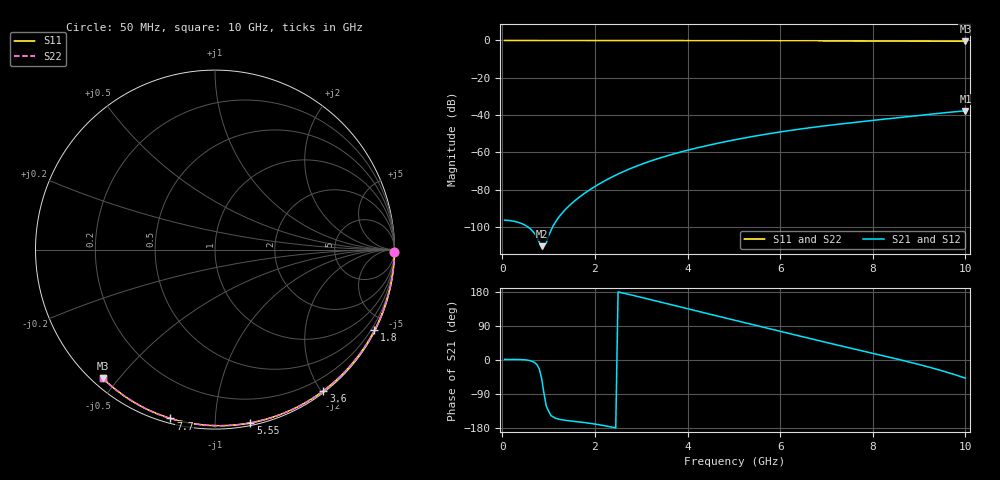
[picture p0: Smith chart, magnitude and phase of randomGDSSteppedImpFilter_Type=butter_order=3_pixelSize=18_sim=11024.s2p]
! freq	dB(S11)	phase(S11)	dB(S12)	phase(S12)
!  dB(S21)	phase(S21)	dB(S22)	phase(S22)
!S-par simulation data
#  GHz  S  DB  R 50
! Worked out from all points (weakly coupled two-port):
!   200 points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, 50 MHz to 10 GHz, reference 50 ohm
!   highest |S21| = -37.79 dB at 10 GHz (marker M1); lowest = -110.4 dB at 850 MHz (marker M2)
!   lowest |S11| = -0.4 dB at 10 GHz (marker M3), VSWR 39.60, Z = 1.52 - j22.7 ohm
!   |S11| at or under -10 dB: nowhere
!   |S22| runs from -0.4 to 0.0 dB; largest |S21 - S12| = 0
!   S11 on the Smith chart (normalised r, x): 50 MHz: open; 1.8 GHz: 0.04, -4.19; 3.6 GHz: 0.02, -2.03; 5.55 GHz: 0.02, -1.22; 7.7 GHz: 0.02, -0.77; 10 GHz: 0.03, -0.45
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0.05  -0.00 -0.8  -96.45 1.9  -96.45 1.9  -0.00 -0.8
0.85  -0.01 -12.8  -110.41 -48.8  -110.41 -48.8  -0.01 -12.8
1.3  -0.02 -19.5  -92.42 -158.1  -92.42 -158.1  -0.02 -19.5
1.75  -0.03 -26.1  -82.49 -164.8  -82.49 -164.8  -0.03 -26.1
1.8  -0.03 -26.9  -81.61 -165.6  -81.61 -165.6  -0.03 -26.9
1.9  -0.04 -28.3  -79.95 -167.2  -79.95 -167.2  -0.04 -28.3
2.15  -0.04 -32.0  -76.18 -172.1  -76.18 -172.1  -0.04 -32.0
2.35  -0.05 -34.9  -73.52 -176.7  -73.52 -176.7  -0.05 -34.9
2.75  -0.05 -40.6  -68.93 172.7  -68.93 172.7  -0.05 -40.6
3.05  -0.06 -44.8  -66.03 163.9  -66.03 163.9  -0.06 -44.8
3.4  -0.07 -49.7  -63.10 153.3  -63.10 153.3  -0.07 -49.7
3.6  -0.07 -52.5  -61.61 147.3  -61.61 147.3  -0.07 -52.5
3.9  -0.08 -56.6  -59.56 138.2  -59.56 138.2  -0.08 -56.6
4.3  -0.09 -62.1  -57.11 126.3  -57.11 126.3  -0.09 -62.1
5.05  -0.11 -72.0  -53.17 104.1  -53.17 104.1  -0.11 -72.0
5.55  -0.13 -78.5  -50.91 89.2  -50.91 89.2  -0.13 -78.5
6.1  -0.15 -85.4  -48.72 72.8  -48.72 72.8  -0.15 -85.4
6.7  -0.18 -92.8  -46.65 55.0  -46.65 55.0  -0.18 -92.8
7.7  -0.24 -104.8  -43.72 26.1  -43.72 26.1  -0.24 -104.8
8.35  -0.29 -112.4  -41.97 7.6  -41.97 7.6  -0.29 -112.4
9.15  -0.36 -121.5  -39.83 -16.7  -39.83 -16.7  -0.36 -121.5
10  -0.44 -131.0  -37.79 -47.8  -37.79 -47.8  -0.44 -131.1
